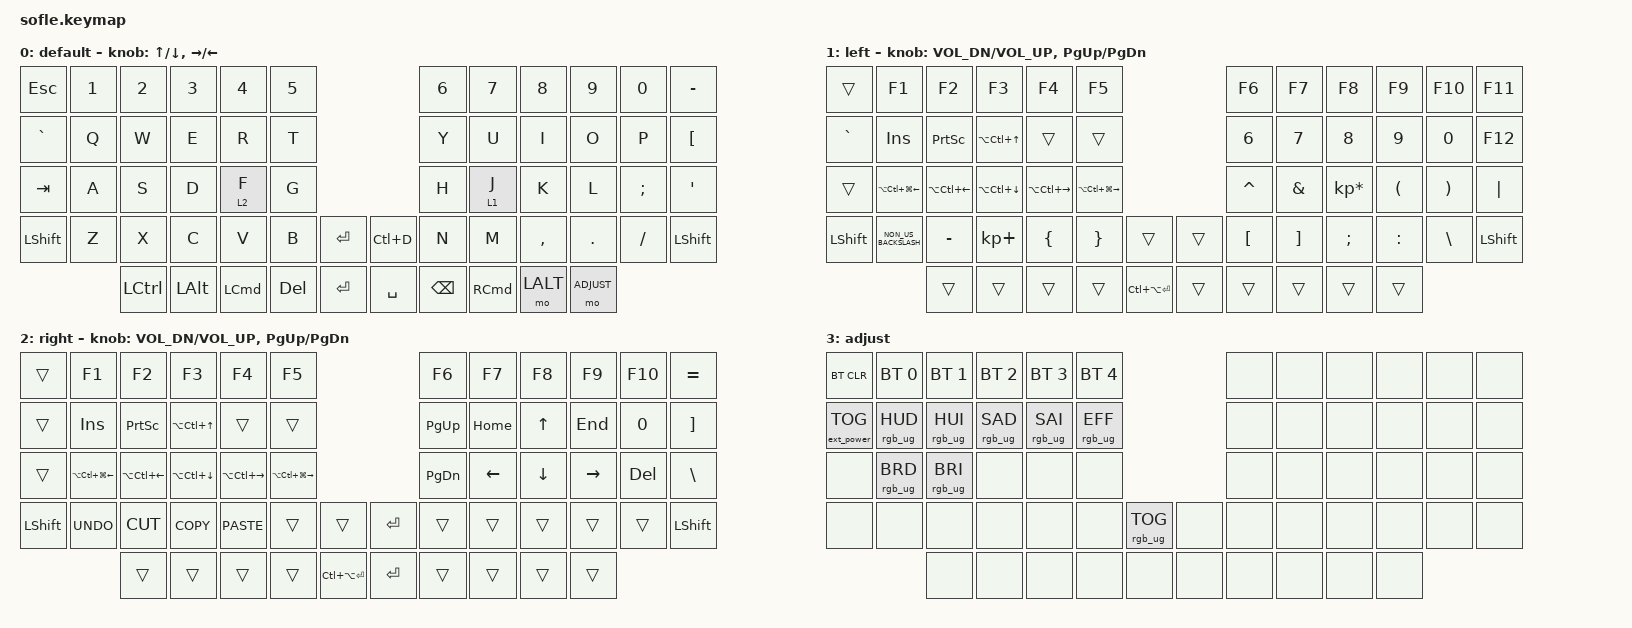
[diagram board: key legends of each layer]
#include <behaviors.dtsi>
#include <dt-bindings/zmk/bt.h>
#include <dt-bindings/zmk/ext_power.h>
#include <dt-bindings/zmk/keys.h>
#include <dt-bindings/zmk/rgb.h>

#define BASE 0
#define LEFT 1
#define RIGHT 2
#define ADJUST 3

/ {
    // Activate ADJUST layer by pressing raise and lower

    // conditional_layers {
    //     compatible = "zmk,conditional-layers";

    //     adjust_layer {
    //         if-layers = <LEFT RIGHT>;
    //         then-layer = <ADJUST>;
    //     };
    // };

    keymap {
        compatible = "zmk,keymap";

        default_layer {
            display-name = "default";

            // ------------------------------------------------------------------------------------------------------------
            // |   `   |  1  |  2  |  3   |  4   |  5   |                   |  6   |  7    |  8    |  9   |   0   |       |
            // |  ESC  |  Q  |  W  |  E   |  R   |  T   |                   |  Y   |  U    |  I    |  O   |   P   | BKSPC |
            // |  TAB  |  A  |  S  |  D   |  F   |  G   |                   |  H   |  J    |  K    |  L   |   ;   |   '   |
            // | SHIFT |  Z  |  X  |  C   |  V   |  B   |  MUTE  |  |       |  N   |  M    |  ,    |  .   |   /   | SHIFT |
            //               | GUI | ALT  | CTRL | LOWER|  ENTER |  | SPACE | RAISE| CTRL  | ALT   | GUI  |

//             bindings = <
// &kp ESCAPE  &kp N1  &kp N2            &kp N3    &kp N4            &kp N5                              &kp N6     &kp N7         &kp N8     &kp N9   &kp N0    &kp MINUS
// &kp GRAVE   &kp Q   &kp W             &kp E     &kp R             &kp T                               &kp Y      &kp U          &kp I      &kp O    &kp P     &kp LEFT_BRACKET
// &kp TAB     &kp A   &kp S             &kp D     &lt 2 F           &kp G                               &kp H      &lt 1 J        &kp K      &kp L    &kp SEMI  &kp SQT
// &kp LSHFT   &kp Z   &kp X             &kp C     &kp V             &kp B      &kp RET    &none      &kp N      &kp M          &kp COMMA  &kp DOT  &kp FSLH  &kp LSHIFT
//                     &kp LEFT_CONTROL  &kp LALT  &kp LEFT_COMMAND  &mo LOWER  &kp RET       &kp SPACE  &mo RAISE  &kp BACKSPACE  &kp BACKSLASH   &kp NON_US_BACKSLASH
//             >;

            bindings = <
&kp ESCAPE  &kp N1  &kp N2            &kp N3    &kp N4            &kp N5                                &kp N6              &kp N7              &kp N8     &kp N9   &kp N0    &kp MINUS
&kp GRAVE   &kp Q   &kp W             &kp E     &kp R             &kp T                                 &kp Y               &kp U               &kp I      &kp O    &kp P     &kp LEFT_BRACKET
&kp TAB     &kp A   &kp S             &kp D     &lt 2 F           &kp G                                 &kp H               &lt 1 J             &kp K      &kp L    &kp SEMI  &kp SQT
&kp LSHFT   &kp Z   &kp X             &kp C     &kp V             &kp B      &kp RET       &kp LC(D)    &kp N               &kp M               &kp COMMA  &kp DOT  &kp FSLH  &kp LSHIFT
                    &kp LEFT_CONTROL  &kp LALT  &kp LEFT_COMMAND  &kp DEL    &kp RET       &kp SPACE    &kp BACKSPACE       &kp RIGHT_COMMAND   &mo LALT   &mo ADJUST
            >;

            sensor-bindings =
                <&inc_dec_kp UP_ARROW DOWN_ARROW>,
                <&inc_dec_kp RIGHT_ARROW LEFT_ARROW>;
        };

        left_layer {
            display-name = "left";

            // TODO: Some binds are waiting for shifted keycode support.
            // ------------------------------------------------------------------------------------------------------------
            // |       |  F1 |  F2 |  F3  |  F4  |  F5  |                   |  F6  |  F7   |  F8   |  F9  |  F10  |  F11  |
            // |   `   |  1  |  2  |  3   |  4   |  5   |                   |  6   |  7    |  8    |  9   |   0   |  F12  |
            // |       |  !  |  @  |  #   |  $   |  %   |                   |  ^   |  &    |  *    |  (   |   )   |   |   |
            // |       |  =  |  -  |  +   |  {   |  }   |        |  |       |  [   |  ]    |  ;    |  :   |   \   |       |
            //               |     |      |      |      |        |  |       |      |       |       |      |

//             bindings = <
// &trans     &kp F1     &kp F2     &kp F3       &kp F4    &kp F5                       &kp F6     &kp F7    &kp F8           &kp F9     &kp F10   &kp F11
// &kp GRAVE  &kp N1     &kp N2     &kp N3       &kp N4    &kp N5                       &kp N6     &kp N7    &kp N8           &kp N9     &kp N0    &kp F12
// &trans     &kp EXCL   &kp AT     &kp HASH     &kp DLLR  &kp PRCNT                    &kp CARET  &kp AMPS  &kp KP_MULTIPLY  &kp LPAR   &kp RPAR  &kp PIPE
// &trans     &kp EQUAL  &kp MINUS  &kp KP_PLUS  &kp LBRC  &kp RBRC   &trans    &trans  &kp LBKT   &kp RBKT  &kp SEMI         &kp COLON  &kp BSLH  &trans
//                       &trans     &trans       &trans    &trans     &trans    &trans  &trans     &trans    &trans           &trans
//             >;

            bindings = <
&trans     &kp F1                      &kp F2                  &kp F3                  &kp F4                   &kp F5                                              &kp F6     &kp F7    &kp F8           &kp F9     &kp F10   &kp F11
&kp GRAVE  &kp INS                     &kp PSCRN               &kp LA(LC(UP_ARROW))    &trans                   &trans                                              &kp N6     &kp N7    &kp N8           &kp N9     &kp N0    &kp F12
&trans     &kp LA(LC(LG(LEFT_ARROW)))  &kp LA(LC(LEFT_ARROW))  &kp LA(LC(DOWN_ARROW))  &kp LA(LC(RIGHT_ARROW))  &kp LA(LC(LG(RIGHT_ARROW)))                         &kp CARET  &kp AMPS  &kp KP_MULTIPLY  &kp LPAR   &kp RPAR  &kp PIPE
&kp LSHFT  &kp NON_US_BACKSLASH        &kp MINUS               &kp KP_PLUS             &kp LBRC                 &kp RBRC                &trans          &trans      &kp LBKT   &kp RBKT  &kp SEMI         &kp COLON  &kp BSLH  &kp LSHFT 
                                       &trans                  &trans                  &trans                   &trans                  &kp LC(LA(RET)) &trans      &trans     &trans    &trans           &trans
            >;

            sensor-bindings = <&inc_dec_kp C_VOL_DN C_VOL_UP &inc_dec_kp PG_UP PG_DN>;
        };

        right_layer {
            display-name = "right";

            // ------------------------------------------------------------------------------------------------------------
            // | BTCLR | BT1  | BT2  |  BT3  |  BT4  |  BT5 |                |      |      |       |      |       |       |
            // |       | INS  | PSCR | GUI   |       |      |                | PGUP |      |   ^   |      |       |       |
            // |       | ALT  | CTRL | SHIFT |       | CAPS |                | PGDN |   <- |   v   |  ->  |  DEL  | BKSPC |
            // |       | UNDO | CUT  | COPY  | PASTE |      |      |  |      |      |      |       |      |       |       |
            //                |      |       |       |      |      |  |      |      |      |       |      |

//             bindings = <
// &trans      &trans                      &trans                  &trans                  &trans                   &trans                                                  &trans     &trans    &kt K_MUTE  &kt K_VOLUME_DOWN  &kp K_VOLUME_UP  &kp EQUAL
// &trans      &kp INS                     &kp PSCRN               &kp LA(LC(UP_ARROW))    &trans                   &trans                                                  &kp PG_UP  &trans    &kp UP      &trans           &kp N0        &kp KP_PLUS
// &trans      &kp LA(LC(LG(LEFT_ARROW)))  &kp LA(LC(LEFT_ARROW))  &kp LA(LC(DOWN_ARROW))  &kp LA(LC(RIGHT_ARROW))  &kp LA(LC(LG(RIGHT_ARROW)))                             &kp PG_DN  &kp LEFT  &kp DOWN    &kp RIGHT        &kp DEL       &kp KP_MULTIPLY
// &trans      &kp K_UNDO                  &kp K_CUT               &kp K_COPY              &kp K_PASTE              &trans                       &trans             &kp RET  &trans     &trans    &trans      &trans           &trans        &trans
//                                         &trans                  &trans                  &trans                   &trans                       &kp LC(LA(RET))    &trans  &trans     &trans    &trans      &trans
//             >;

            bindings = <
&trans      &kp F1                      &kp F2                  &kp F3                  &kp F4                   &kp F5                                                     &kp F6          &kp F7              &kp F8              &kp F9           &kp F10       &kp EQUAL
&trans      &kp INS                     &kp PSCRN               &kp LA(LC(UP_ARROW))    &trans                   &trans                                                     &kp PG_UP       &kp HOME            &kp UP_ARROW        &kp END          &kp N0        &kp RIGHT_BRACKET
&trans      &kp LA(LC(LG(LEFT_ARROW)))  &kp LA(LC(LEFT_ARROW))  &kp LA(LC(DOWN_ARROW))  &kp LA(LC(RIGHT_ARROW))  &kp LA(LC(LG(RIGHT_ARROW)))                                &kp PG_DN       &kp LEFT_ARROW      &kp DOWN_ARROW      &kp RIGHT_ARROW  &kp DEL       &kp BACKSLASH
&kp LSHFT   &kp K_UNDO                  &kp K_CUT               &kp K_COPY              &kp K_PASTE              &trans                       &trans             &kp RET    &trans          &trans              &trans              &trans           &trans        &kp LSHIFT
                                        &trans                  &trans                  &trans                   &trans                       &kp LC(LA(RET))    &kp RET    &trans          &trans              &trans              &trans
            >;

            sensor-bindings = <&inc_dec_kp C_VOL_DN C_VOL_UP &inc_dec_kp PG_UP PG_DN>;
        };

        adjust_layer {
            // ----------------------------------------------------------------------------------------------------------------------------
            // | BTCLR  |  BT1    |  BT2    |   BT3   |   BT4   |   BT5   |                  |      |      |       |      |       |       |
            // | EXTPWR | RGB_HUD | RGB_HUI | RGB_SAD | RGB_SAI | RGB_EFF |                  |      |      |       |      |       |       |
            // |        | RGB_BRD | RGB_BRI |         |         |         |                  |      |      |       |      |       |       |
            // |        |         |         |         |         |         | RGB_TOG | |      |      |      |       |      |       |       |
            //                    |         |         |         |         |         | |      |      |      |       |      |

            display-name = "adjust";
            bindings = <
&bt BT_CLR         &bt BT_SEL 0     &bt BT_SEL 1     &bt BT_SEL 2     &bt BT_SEL 3     &bt BT_SEL 4                               &none  &none  &none  &none  &none  &none
&ext_power EP_TOG  &rgb_ug RGB_HUD  &rgb_ug RGB_HUI  &rgb_ug RGB_SAD  &rgb_ug RGB_SAI  &rgb_ug RGB_EFF                            &none  &none  &none  &none  &none  &none
&none              &rgb_ug RGB_BRD  &rgb_ug RGB_BRI  &none            &none            &none                                      &none  &none  &none  &none  &none  &none
&none              &none            &none            &none            &none            &none            &rgb_ug RGB_TOG    &none  &none  &none  &none  &none  &none  &none
                                    &none            &none            &none            &none            &none              &none  &none  &none  &none  &none
            >;
        };
    };
};
